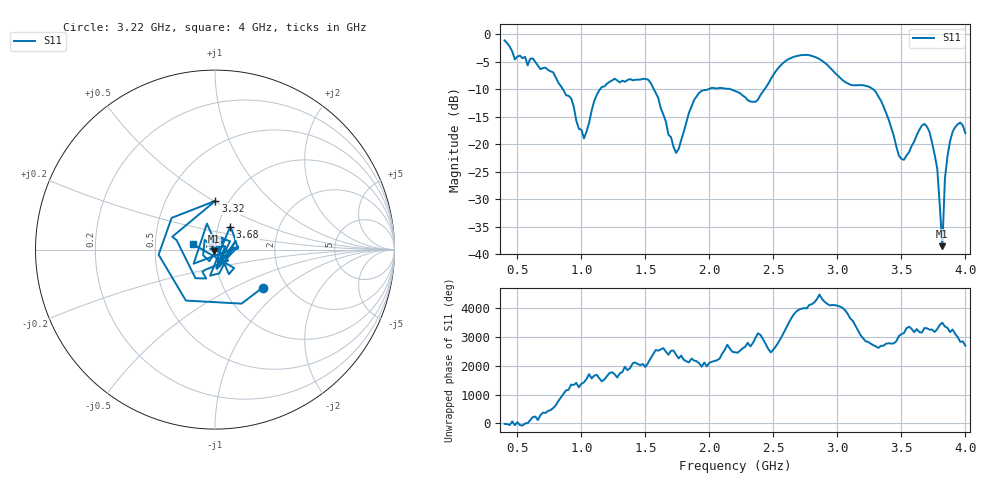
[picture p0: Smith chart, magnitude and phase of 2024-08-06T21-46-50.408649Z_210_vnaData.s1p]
!Created with skrf (http://scikit-rf.org).
# Hz S RI R 50.0
!freq ReS11 ImS11
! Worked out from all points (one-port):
!   181 points, 400 MHz to 4 GHz, reference 50 ohm
!   lowest |S11| = -38.6 dB at 3.82 GHz (marker M1), VSWR 1.02, Z = 49.4 - j1 ohm
!   |S11| at or under -10 dB: 855.1 MHz to 1.146 GHz (291 MHz wide, 29.1 % of centre); 1.566 GHz to 1.992 GHz (425.4 MHz wide, 23.9 % of centre); 3.279 GHz to end of sweep (the widest 3 of 4)
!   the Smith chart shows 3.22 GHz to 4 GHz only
!   S11 on the Smith chart (normalised r, x): 3.22 GHz: 1.51, -0.72; 3.32 GHz: 0.87, +0.51; 3.68 GHz: 1.14, +0.30; 4 GHz: 0.78, +0.05
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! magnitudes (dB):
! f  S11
! 400 MHz  -1.1
! 480 MHz  -4.6
! 620 MHz  -4.4
! 860 MHz  -10.2
! 920 MHz  -11.7
! 1.02 GHz  -19.0
! 1.14 GHz  -10.2
! 1.3 GHz  -8.8
! 1.52 GHz  -8.2
! 1.74 GHz  -21.6
! 1.76 GHz  -20.9
! 1.92 GHz  -10.7
! 2.2 GHz  -10.3
! 2.36 GHz  -12.3
! 2.66 GHz  -4.1
! 2.86 GHz  -4.5
! 3.1 GHz  -9.2
! 3.22 GHz  -9.4
! 3.32 GHz  -11.3
! 3.48 GHz  -22.1
! 3.56 GHz  -21.5
! 3.68 GHz  -16.3
! 3.78 GHz  -24.4
! 3.82 GHz  -38.6
! 3.84 GHz  -26.3
! 3.88 GHz  -19.5
! 3.96 GHz  -16.1
! 4 GHz  -18.0
